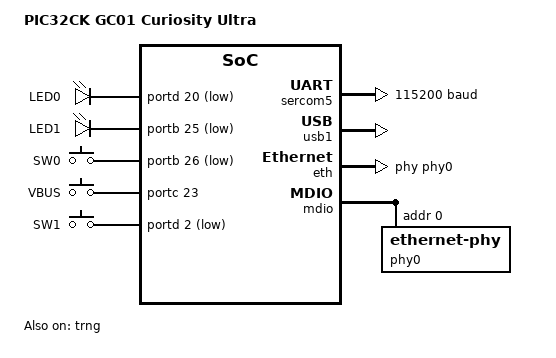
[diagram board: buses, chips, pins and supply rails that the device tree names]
/*
 * Copyright (c) 2026 Microchip Technology Inc.
 *
 * SPDX-License-Identifier: Apache-2.0
 */

/dts-v1/;
#include <microchip/pic32c/pic32ck_sg_gc/pic32ck_gc01/pic32ck2051gc01144.dtsi>
#include "pic32ck_gc01_cult-pinctrl.dtsi"
#include <zephyr/dt-bindings/input/input-event-codes.h>

/ {
	model = "PIC32CK GC01 Curiosity Ultra";
	compatible = "microchip,pic32ck_gc01_cult";

	chosen {
		zephyr,console = &sercom5;
		zephyr,shell-uart = &sercom5;
		zephyr,entropy = &trng;
		zephyr,sram = &sram0;
		zephyr,flash = &flash1;
		zephyr,code-partition = &code_partition;
	};

	aliases {
		led0 = &led0;
		led1 = &led1;
		sw0 = &button0;
		sw1 = &button1;
		vbus1 = &vbus1;
	};

	leds {
		compatible = "gpio-leds";

		led0: led_0 {
			gpios = <&portd 20 GPIO_ACTIVE_LOW>;
			label = "LED0";
		};

		led1: led_1 {
			gpios = <&portb 25 GPIO_ACTIVE_LOW>;
			label = "LED1";
		};
	};

	buttons {
		compatible = "gpio-keys";

		button0: button_0 {
			gpios = <&portb 26 (GPIO_PULL_UP | GPIO_ACTIVE_LOW)>;
			label = "SW0";
			zephyr,code = <INPUT_KEY_0>;
		};
		vbus1: vbus_1 {
			gpios = <&portc 23 GPIO_ACTIVE_HIGH>;
			label = "VBUS";
			zephyr,code = <INPUT_KEY_2>;
		};

	};

	buttons_poll {
		compatible = "gpio-keys";
		polling-mode;

		button1: button_1 {
			gpios = <&portd 2 (GPIO_PULL_UP | GPIO_ACTIVE_LOW)>;
			label = "SW1";
			zephyr,code = <INPUT_KEY_1>;
		};
	};
};

&flash0 {
	partitions {
		#address-cells = <1>;
		#size-cells = <1>;
		ranges;

		boot_partition: partition@0 {
			label = "boot_flash";
			compatible = "zephyr,mapped-partition";
			reg = <0x0 DT_SIZE_K(128)>;
		};
	};
};

&flash1 {
	partitions {
		#address-cells = <1>;
		#size-cells = <1>;
		ranges;

		code_partition: partition@0 {
			label = "program_flash";
			compatible = "zephyr,mapped-partition";
			reg = <0x0 DT_SIZE_K(2032)>;
		};

		storage_partition: partition@1fc000 {
			label = "storage";
			compatible = "zephyr,mapped-partition";
			reg = <0x1fc000 DT_SIZE_K(16)>;
		};
	};
};

&cpu0 {
	clock-frequency = <120000000>;
};

&porta {
	status = "okay";
};

&portb {
	status = "okay";
};

&portc {
	status = "okay";
};

&portd {
	status = "okay";
};

&sercom5 {
	compatible = "microchip,sercom-g1-uart";
	current-speed = <115200>;
	rxpo = <1>;
	txpo = <0>;
	pinctrl-0 = <&sercom5_uart_default>;
	pinctrl-names = "default";
	status = "okay";
};

zephyr_udc0: &usb1 {
	status = "okay";
	pinctrl-0 = <&usb_dc_default>;
	pinctrl-names = "default";
};

&eth {
	status = "okay";
	phy-handle = <&phy0>;
	pinctrl-0 = <&eth_rmii_default>;
	pinctrl-names = "default";
};

&mdio {
	status = "okay";
	pinctrl-0 = <&eth_rmii_default>;
	pinctrl-names = "default";
	phy0: ethernet-phy@0 {
		compatible = "ethernet-phy";
		reg = <0>;
	};
};

&trng {
	status = "okay";
};
